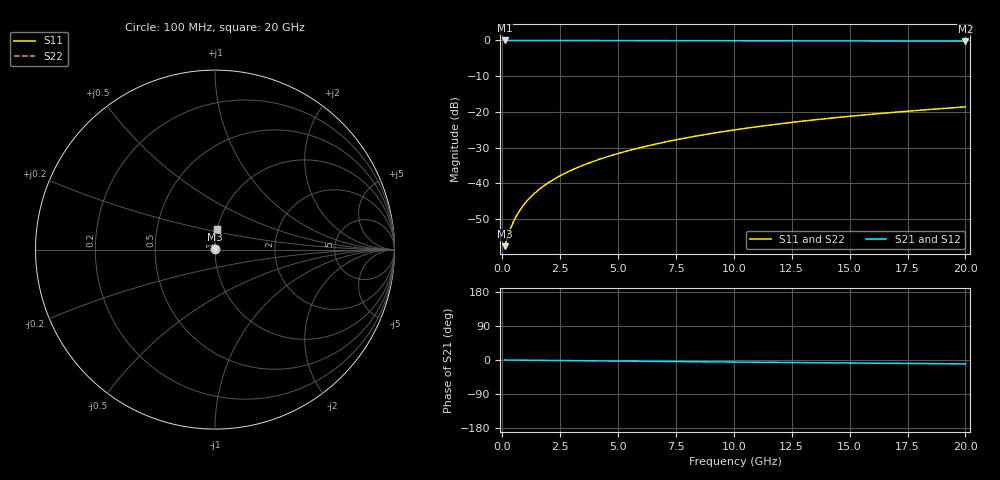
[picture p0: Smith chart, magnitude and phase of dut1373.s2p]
! Touchstone file exported from HFSS 2024.1.0
!  File:  C:/UserFiles/LocalFiles/RDL_TSV_Batchsim/temp_RDL_bottom_1373_1780371252.aedt
!  Generated:  11:36:55 AM Jun  2, 2026
!  Design:  RDL_bottom
!  Project:  temp_RDL_bottom_1373_1780371252
!  Setup:  Setup1
!  Solution:  Sweep
! Variables:
!  dtsv = 10.80580581um
!  hbump = 3um
!  htsv = 93.36um
!  ldown = 111.11um
!  lrdl = 100um
!  p = 40
!  p1 = 47.68um
!  rhole = 1um
!  t = 450um
!  tdown = 2.12um
!  trdl = 3.915915916um
!  wdown = 24.5um
!  wrdl = 20um
# GHz S MA R 50.000000
! Terminal data exported
! Port[1] = RDL1_T1
! Port[2] = RDL1_T2
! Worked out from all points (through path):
!   200 points, 100 MHz to 20 GHz, reference 50 ohm
!   highest |S21| = -0.01 dB at 100 MHz (marker M1); lowest = -0.2 dB at 20 GHz (marker M2)
!   group delay of S21, straight-line fit = 1.42 ps
!   lowest |S11| = -57.5 dB at 100 MHz (marker M3), VSWR 1.00, Z = 50.1 + j0.0559 ohm
!   |S11| at or under -10 dB: start of sweep to end of sweep
!   |S22| runs from -57.5 to -18.6 dB; largest |S21 - S12| = 2.6e-15
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0.1  0.001326 24.9  0.9988 -0.1  0.9988 -0.1  0.001326 24.9
! Gamma 0 0 0 0
! Port Impedance 50 0 50 0
0.3  0.00207 52.6  0.9987 -0.2  0.9987 -0.2  0.00207 52.6
0.4  0.002524 59.3  0.9987 -0.2  0.9987 -0.2  0.002524 59.3
0.5  0.002991 63.8  0.9986 -0.3  0.9986 -0.3  0.002991 63.8
0.6  0.003463 67.1  0.9986 -0.4  0.9986 -0.4  0.003463 67.1
0.7  0.003937 69.7  0.9985 -0.4  0.9985 -0.4  0.003937 69.7
0.9  0.004889 73.5  0.9984 -0.5  0.9984 -0.5  0.004889 73.5
1.2  0.006332 77.3  0.9983 -0.7  0.9983 -0.7  0.006332 77.3
1.4  0.007305 79.2  0.9982 -0.8  0.9982 -0.8  0.007305 79.2
1.7  0.008782 81.3  0.998 -1.0  0.998 -1.0  0.008782 81.3
2.2  0.01129 83.7  0.9977 -1.3  0.9977 -1.3  0.01129 83.7
2.8  0.01436 85.7  0.9973 -1.6  0.9973 -1.6  0.01436 85.7
3.5  0.01803 87.3  0.9967 -2.0  0.9967 -2.0  0.01803 87.3
4.2  0.0218 88.3  0.996 -2.4  0.996 -2.4  0.0218 88.3
5  0.02622 89.1  0.9952 -2.8  0.9952 -2.8  0.02622 89.1
5.9  0.03132 89.7  0.9942 -3.3  0.9942 -3.3  0.03132 89.7
6.8  0.03656 89.9  0.9931 -3.8  0.9931 -3.8  0.03656 89.9
8.4  0.04611 89.9  0.9912 -4.6  0.9912 -4.6  0.04611 89.9
10.1  0.05649 89.4  0.9892 -5.5  0.9892 -5.5  0.05649 89.4
13.4  0.07696 87.8  0.9853 -7.1  0.9853 -7.1  0.07696 87.8
16.7  0.09744 85.9  0.9816 -8.7  0.9816 -8.7  0.09744 85.9
20  0.1177 83.9  0.9779 -10.3  0.9779 -10.3  0.1177 83.9
